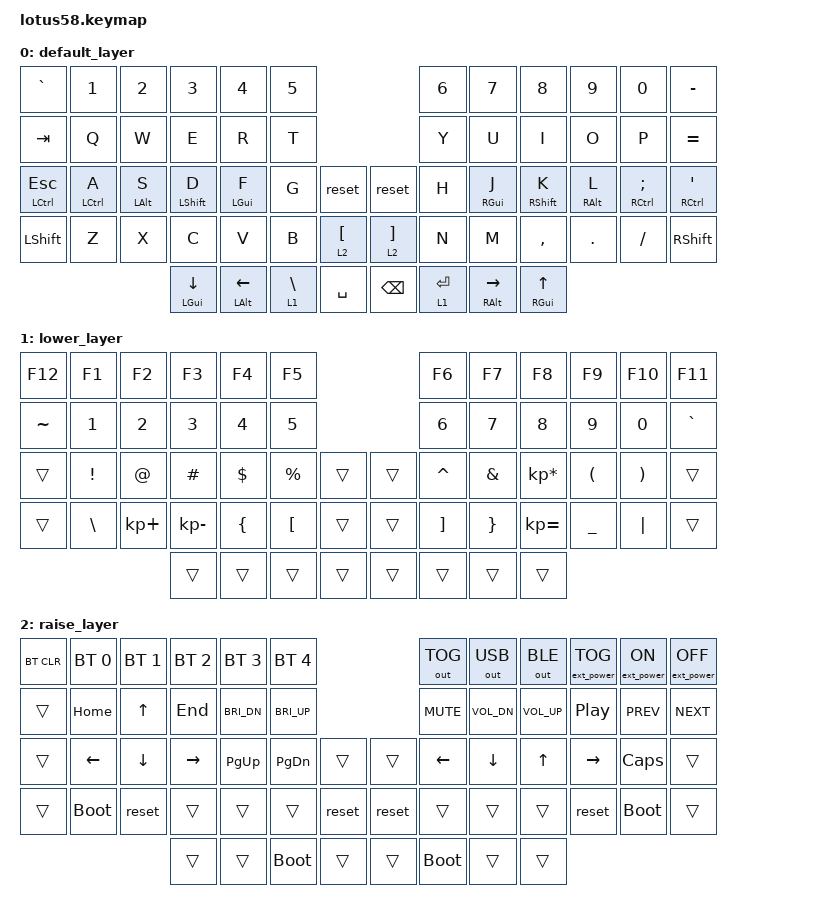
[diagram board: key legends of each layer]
/*
 * Copyright (c) 2022 The ZMK Contributors
 *
 * SPDX-License-Identifier: MIT
 */

#include <behaviors.dtsi>
#include <dt-bindings/zmk/keys.h>
#include <dt-bindings/zmk/bt.h>
#include <dt-bindings/zmk/outputs.h>
#include <dt-bindings/zmk/ext_power.h>

/ {
    behaviors {

        lhm: left_hand_positional_hold_tap {
            compatible = "zmk,behavior-hold-tap";
            label = "LEFT_POSITIONAL_HOLD_TAP";
            #binding-cells = <2>;
            flavor = "tap-preferred";
            tapping-term-ms = <200>;                        // <---[[produces tap if held longer than tapping-term-ms]]
            quick-tap-ms = <125>;
            global-quick-tap;
            bindings = <&kp>, <&kp>;
            hold-trigger-key-positions = <6 7 8 9 10 11 18 19 20 21 22 23 31 32 33 34 35 36 37 45 46 47 48 49 50 51 56 57 58 59>;    // <---[[right-hand keys]]
        };
        rhm: right_hand_positional_hold_tap {
            compatible = "zmk,behavior-hold-tap";
            label = "RIGHT_POSITIONAL_HOLD_TAP";
            #binding-cells = <2>;
            flavor = "tap-preferred";
            tapping-term-ms = <200>;                        // <---[[produces tap if held longer than tapping-term-ms]]
            quick-tap-ms = <125>;
            global-quick-tap;
            bindings = <&kp>, <&kp>;
            hold-trigger-key-positions = <0 1 2 3 4 5 12 13 14 15 16 17 24 25 26 27 28 29 30 38 39 40 41 42 43 44 52 53 54 55>;    // <---[[right-hand keys]]
        };
        mtb: mod_tap_balanced {
            compatible = "zmk,behavior-hold-tap";
            label = "MOD_TAP_BALANCED";
            #binding-cells = <2>;
            tapping-term-ms = <200>;
            quick-tap-ms = <125>;
            flavor = "balanced";
            bindings = <&kp>, <&kp>;
        };
    };
    keymap {
        compatible = "zmk,keymap";

        default_layer {
//   ---------------------------------------------------------------------------------------------------------------------------------------------------------------
//  0|  GRAVE     |  1      |  2        |  3        |  4         |  5      |                     |  6        |  7         |  8      |  9     |   0      |   -   | 11
// 12|  TAB       |  Q      |  W        |  E        |  R         |  T      |                     |  Y        |  U         |  I      |  O     |   P      |   +   | 23
// 24|  ESC CTRL  |  A LCTRL|  S LALT   |  D LSHFT  |  F LGUI    |  G      |  RESET  |  | RESET  |  H        |  J RGUI    |  K RSHFT|  L RALT|   ; RCTRL|' CTRL | 37
// 38|  SHFT      |  Z      |  X        |  C        |  V         |  B      |  [ RS   |  |  ] RS  |  N        |  M         |  ,      |  .     |   /      |  SHFT | 51
// 52                                   | v LGUI    | < LALT     | BSLH LW |  SPC    |  | BSPC   |RET LW     | > RALT     | ^ RGUI  |                             59
            bindings = <
&kp GRAVE      &kp N1        &kp N2          &kp N3              &kp N4         &kp N5                                 &kp N6         &kp N7         &kp N8         &kp N9         &kp N0          &kp MINUS
&kp TAB        &kp Q         &kp W           &kp E               &kp R          &kp T                                  &kp Y          &kp U          &kp I          &kp O          &kp P           &kp EQUAL
&mt LCTRL ESC  &lhm LCTRL A  &lhm LALT S     &lhm LSHIFT D       &lhm LGUI F    &kp G        &reset         &reset     &kp H          &rhm RGUI J    &rhm RSHIFT K  &rhm RALT L    &rhm RCTRL SEMI &mtb RCTRL SQT
&kp LSHFT      &kp Z         &kp X           &kp C               &kp V          &kp B        &lt 2 LBKT     &lt 2 RBKT &kp N          &kp M          &kp COMMA      &kp DOT        &kp FSLH        &kp RSHFT
                                             &mt LGUI DOWN       &mt LALT LEFT  &lt 1 BSLH   &kp SPACE      &kp BSPC   &lt 1 RET      &mt RALT RIGHT &mt RGUI UP
            >;
        };

        lower_layer {
// ------------------------------------------------------------------------------------------------------------
// | F12   |  F1 |  F2 |  F3  |  F4   |  F5     |                   |  F6  |  F7   |  F8   |  F9    |  F10  |  F11   |
// | ~     |1    |  2  |  3   | 4     |  5      |                   | 6    |  7    |  8    |  9     | 0     |   `   |
// |       | !   |  @  | #    | $     |  %      |        |  |       |  ^   |  &    |  *    |   (    | )     |       |
// |       | \   |  +  | -    | {     |  [      |        |  |       | ]    |  }    |  =    |   _    |  "|"  |       |
//                     |      |       |         |        |  |       |      |       |       |
            bindings = <
&kp F12    &kp F1       &kp F2        &kp F3        &kp F4         &kp F5                                   &kp F6            &kp F7           &kp F8           &kp F9           &kp F10      &kp F11
&kp TILDE  &kp N1       &kp N2        &kp N3        &kp N4         &kp N5                                   &kp N6            &kp N7           &kp N8           &kp N9           &kp N0       &kp GRAVE
&trans     &kp EXCL     &kp AT        &kp HASH      &kp DLLR       &kp PRCNT         &trans      &trans     &kp CARET         &kp AMPS         &kp KP_MULTIPLY  &kp LPAR         &kp RPAR     &trans
&trans     &kp BSLH     &kp KP_PLUS   &kp KP_MINUS  &kp LEFT_BRACE &kp LEFT_BRACKET  &trans      &trans     &kp RIGHT_BRACKET &kp RIGHT_BRACE  &kp KP_EQUAL     &kp UNDERSCORE   &kp PIPE     &trans
                                      &trans        &trans         &trans            &trans      &trans     &trans            &trans            &trans
            >;
        };

        raise_layer {
// ------------------------------------------------------------------------------------------------------------
// |BTCLR| BT1   | BT2  |  BT3  |  BT4  |  BT5   |                |OUTTOG|OUTUSB| OUTBT |EP_TOG|EP_ON  |EP_OFF |
// |     | HOME  |  ^   | END   | BRI v | BRI ^  |                | MUTE | VOL v| Vol ^ | PP   | PREV  | NEXT  |
// |     | <-    |  v   | ->    | PGDN  | PGUP   |      |  |      |   <- |   v  |  ^    |   >  | CAPS  |       |
// |BOOT | RESET |      |       |       |        | RESET|  |RESET |      |      |       |RESET | BOOT  |       |
//                      |       |       | BOOT   |      |  |      | BOOT |      |       |
            bindings = <
&bt BT_CLR &bt BT_SEL 0 &bt BT_SEL 1 &bt BT_SEL 2 &bt BT_SEL 3 &bt BT_SEL 4                     &out OUT_TOG  &out OUT_USB  &out OUT_BLE  &ext_power EP_TOG  &ext_power EP_ON  &ext_power EP_OFF
&trans     &kp HOME     &kp UP       &kp END      &kp C_BRI_DN &kp C_BRI_UP                     &kp C_MUTE    &kp C_VOL_DN  &kp C_VOL_UP  &kp C_PP           &kp C_PREV        &kp C_NEXT
&trans     &kp LEFT     &kp DOWN     &kp RIGHT    &kp PG_UP    &kp PG_DN     &trans   &trans    &kp LEFT      &kp DOWN      &kp UP        &kp RIGHT          &kp CAPS          &trans
&trans     &bootloader  &reset       &trans       &trans       &trans        &reset   &reset    &trans        &trans        &trans        &reset             &bootloader       &trans
                                     &trans       &trans       &bootloader   &trans   &trans    &bootloader   &trans        &trans
            >;
        };
    };
};
